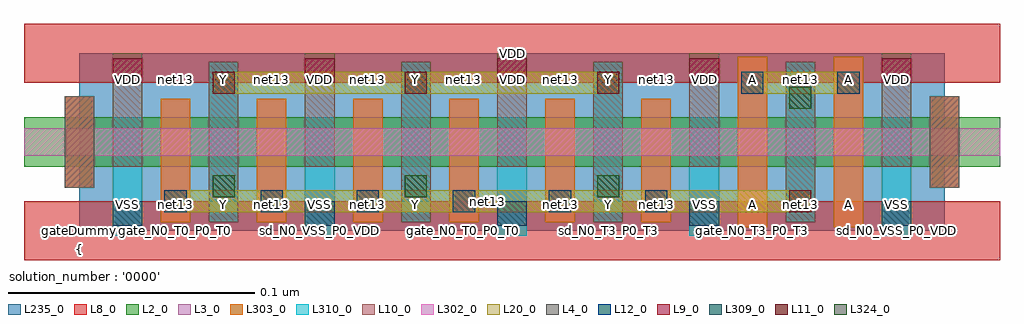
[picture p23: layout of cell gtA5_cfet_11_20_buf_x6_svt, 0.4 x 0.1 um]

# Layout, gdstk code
import gdstk
lib = gdstk.Library(unit=1e-6, precision=2.5e-10)
def R(c, l, rs):  # rectangles x0, y0, x1, y1
    for r in rs: c.add(gdstk.rectangle(r[:2], r[2:], *l))
def A(c, l, x, y, w, h, nx, ny, dx, dy):  # array of equal rectangles
    R(c, l, [(x+i*dx, y+j*dy, x+i*dx+w, y+j*dy+h) for i in range(nx) for j in range(ny)])
L2_0 = (2, 0)
L3_0 = (3, 0)
L4_0 = (4, 0)
L8_0 = (8, 0)
L9_0 = (9, 0)
L10_0 = (10, 0)
L11_0 = (11, 0)
L12_0 = (12, 0)
L20_0 = (20, 0)
L235_0 = (235, 0)
L302_0 = (302, 0)
L303_0 = (303, 0)
L309_0 = (309, 0)
L310_0 = (310, 0)
L324_0 = (324, 0)

gta5_cfet_11_20_buf_x6_s = lib.new_cell('gtA5_cfet_11_20_buf_x6_svt')
R(gta5_cfet_11_20_buf_x6_s, L2_0, [(-0.0225,0.026,0.3735,0.046)])
A(gta5_cfet_11_20_buf_x6_s, L3_0, 0.033, 0.0035, 0.012, 0.05, 6, 1, 0.039, 0)
R(gta5_cfet_11_20_buf_x6_s, L3_0, [(0.267,0.0015,0.279,0.0705), (0.306,0.0015,0.318,0.0705), (-0.006,0.0175,0.006,0.0545), (0.345,0.0175,0.357,0.0545)])
R(gta5_cfet_11_20_buf_x6_s, L4_0, [(-0.006,0.0175,0.006,0.0545), (0.345,0.0175,0.357,0.0545)])
R(gta5_cfet_11_20_buf_x6_s, L8_0, [(-0.0225,-0.012,0.3735,0.012), (-0.0225,0.06,0.3735,0.084)])
A(gta5_cfet_11_20_buf_x6_s, L9_0, 0.0135, 0.06, 0.012, 0.01, 5, 1, 0.078, 0)
A(gta5_cfet_11_20_buf_x6_s, L10_0, 0.0525, 0.0035, 0.012, 0.065, 4, 1, 0.078, 0)
A(gta5_cfet_11_20_buf_x6_s, L10_0, 0.0135, 0.026, 0.012, 0.046, 5, 1, 0.078, 0)
A(gta5_cfet_11_20_buf_x6_s, L11_0, 0.054, 0.0555, 0.009, 0.009, 3, 1, 0.078, 0)
R(gta5_cfet_11_20_buf_x6_s, L11_0, [(0.288,0.0075,0.297,0.0165)])
A(gta5_cfet_11_20_buf_x6_s, L12_0, 0.0345, 0.0075, 0.009, 0.009, 6, 1, 0.039, 0)
R(gta5_cfet_11_20_buf_x6_s, L12_0, [(0.2685,0.0555,0.2775,0.0645), (0.3075,0.0555,0.3165,0.0645)])
R(gta5_cfet_11_20_buf_x6_s, L20_0, [(0.0345,0.0075,0.297,0.0165), (0.054,0.0555,0.219,0.0645), (0.2685,0.0555,0.3165,0.0645)])
R(gta5_cfet_11_20_buf_x6_s, L235_0, [(0,0,0.351,0.072)])
R(gta5_cfet_11_20_buf_x6_s, L302_0, [(-0.0225,0.0305,0.3735,0.0415)])
A(gta5_cfet_11_20_buf_x6_s, L303_0, 0.033, 0.0035, 0.012, 0.05, 6, 1, 0.039, 0)
R(gta5_cfet_11_20_buf_x6_s, L303_0, [(0.267,0.0015,0.279,0.0705), (0.306,0.0015,0.318,0.0705), (-0.006,0.0175,0.006,0.0545), (0.345,0.0175,0.357,0.0545)])
A(gta5_cfet_11_20_buf_x6_s, L309_0, 0.0135, 0.002, 0.012, 0.01, 5, 1, 0.078, 0)
A(gta5_cfet_11_20_buf_x6_s, L310_0, 0.0135, -0.002, 0.012, 0.048, 5, 1, 0.078, 0)
A(gta5_cfet_11_20_buf_x6_s, L310_0, 0.0525, 0.0035, 0.012, 0.065, 4, 1, 0.078, 0)
A(gta5_cfet_11_20_buf_x6_s, L324_0, 0.054, 0.0135, 0.009, 0.009, 3, 1, 0.078, 0)
R(gta5_cfet_11_20_buf_x6_s, L324_0, [(0.288,0.0495,0.297,0.0585)])
gta5_cfet_11_20_buf_x6_s.add(gdstk.Label('net13', (0.1658,0.012), layer=100, texttype=100))
gta5_cfet_11_20_buf_x6_s.add(gdstk.Label('gateDummy', (0,0), layer=103, texttype=103))
gta5_cfet_11_20_buf_x6_s.add(gdstk.Label('sd_N0_VSS_P0_VDD', (0.0195,0), layer=103, texttype=103))
gta5_cfet_11_20_buf_x6_s.add(gdstk.Label('gate_N0_T0_P0_T0', (0.039,0), layer=103, texttype=103))
gta5_cfet_11_20_buf_x6_s.add(gdstk.Label('sd_N0_T3_P0_T3', (0.0585,0), layer=103, texttype=103))
gta5_cfet_11_20_buf_x6_s.add(gdstk.Label('gate_N0_T0_P0_T0', (0.078,0), layer=103, texttype=103))
gta5_cfet_11_20_buf_x6_s.add(gdstk.Label('sd_N0_VSS_P0_VDD', (0.0975,0), layer=103, texttype=103))
gta5_cfet_11_20_buf_x6_s.add(gdstk.Label('gate_N0_T0_P0_T0', (0.117,0), layer=103, texttype=103))
gta5_cfet_11_20_buf_x6_s.add(gdstk.Label('sd_N0_T3_P0_T3', (0.1365,0), layer=103, texttype=103))
gta5_cfet_11_20_buf_x6_s.add(gdstk.Label('gate_N0_T0_P0_T0', (0.156,0), layer=103, texttype=103))
gta5_cfet_11_20_buf_x6_s.add(gdstk.Label('sd_N0_VSS_P0_VDD', (0.1755,0), layer=103, texttype=103))
gta5_cfet_11_20_buf_x6_s.add(gdstk.Label('gate_N0_T0_P0_T0', (0.195,0), layer=103, texttype=103))
gta5_cfet_11_20_buf_x6_s.add(gdstk.Label('sd_N0_T3_P0_T3', (0.2145,0), layer=103, texttype=103))
gta5_cfet_11_20_buf_x6_s.add(gdstk.Label('gate_N0_T0_P0_T0', (0.234,0), layer=103, texttype=103))
gta5_cfet_11_20_buf_x6_s.add(gdstk.Label('sd_N0_VSS_P0_VDD', (0.2535,0), layer=103, texttype=103))
gta5_cfet_11_20_buf_x6_s.add(gdstk.Label('gate_N0_T3_P0_T3', (0.273,0), layer=103, texttype=103))
gta5_cfet_11_20_buf_x6_s.add(gdstk.Label('sd_N0_T0_P0_T0', (0.2925,0), layer=103, texttype=103))
gta5_cfet_11_20_buf_x6_s.add(gdstk.Label('gate_N0_T3_P0_T3', (0.312,0), layer=103, texttype=103))
gta5_cfet_11_20_buf_x6_s.add(gdstk.Label('sd_N0_VSS_P0_VDD', (0.3315,0), layer=103, texttype=103))
gta5_cfet_11_20_buf_x6_s.add(gdstk.Label('gateDummy', (0.351,0), layer=103, texttype=103))
gta5_cfet_11_20_buf_x6_s.add(gdstk.Label('}', (0,-0.0785), layer=104, texttype=104))
gta5_cfet_11_20_buf_x6_s.add(gdstk.Label('  power : None', (0,-0.0713), layer=104, texttype=104))
gta5_cfet_11_20_buf_x6_s.add(gdstk.Label('  performance : None', (0,-0.0643), layer=104, texttype=104))
gta5_cfet_11_20_buf_x6_s.add(gdstk.Label("  solution_hash : '15863758050894944985'", (0,-0.057), layer=104, texttype=104))
gta5_cfet_11_20_buf_x6_s.add(gdstk.Label('  number_m2 : 0', (0,-0.05), layer=104, texttype=104))
gta5_cfet_11_20_buf_x6_s.add(gdstk.Label('  number_m1 : 0', (0,-0.0428), layer=104, texttype=104))
gta5_cfet_11_20_buf_x6_s.add(gdstk.Label('  number_m0cuts : 0', (0,-0.0358), layer=104, texttype=104))
gta5_cfet_11_20_buf_x6_s.add(gdstk.Label('  number_m0 : 3', (0,-0.0285), layer=104, texttype=104))
gta5_cfet_11_20_buf_x6_s.add(gdstk.Label("  solution_number : '0000'", (0,-0.0215), layer=104, texttype=104))
gta5_cfet_11_20_buf_x6_s.add(gdstk.Label("  placement_id : '4436051885917977567'", (0,-0.0143), layer=104, texttype=104))
gta5_cfet_11_20_buf_x6_s.add(gdstk.Label('{', (0,-0.0073), layer=104, texttype=104))
gta5_cfet_11_20_buf_x6_s.add(gdstk.Label('VSS', (0.0195,0.0108), layer=105, texttype=105))
gta5_cfet_11_20_buf_x6_s.add(gdstk.Label('net13', (0.039,0.0108), layer=105, texttype=105))
gta5_cfet_11_20_buf_x6_s.add(gdstk.Label('Y', (0.0585,0.0108), layer=105, texttype=105))
gta5_cfet_11_20_buf_x6_s.add(gdstk.Label('net13', (0.078,0.0108), layer=105, texttype=105))
gta5_cfet_11_20_buf_x6_s.add(gdstk.Label('VSS', (0.0975,0.0108), layer=105, texttype=105))
gta5_cfet_11_20_buf_x6_s.add(gdstk.Label('net13', (0.117,0.0108), layer=105, texttype=105))
gta5_cfet_11_20_buf_x6_s.add(gdstk.Label('Y', (0.1365,0.0108), layer=105, texttype=105))
gta5_cfet_11_20_buf_x6_s.add(gdstk.Label('net13', (0.156,0.0108), layer=105, texttype=105))
gta5_cfet_11_20_buf_x6_s.add(gdstk.Label('VSS', (0.1755,0.0108), layer=105, texttype=105))
gta5_cfet_11_20_buf_x6_s.add(gdstk.Label('net13', (0.195,0.0108), layer=105, texttype=105))
gta5_cfet_11_20_buf_x6_s.add(gdstk.Label('Y', (0.2145,0.0108), layer=105, texttype=105))
gta5_cfet_11_20_buf_x6_s.add(gdstk.Label('net13', (0.234,0.0108), layer=105, texttype=105))
gta5_cfet_11_20_buf_x6_s.add(gdstk.Label('VSS', (0.2535,0.0108), layer=105, texttype=105))
gta5_cfet_11_20_buf_x6_s.add(gdstk.Label('A', (0.273,0.0108), layer=105, texttype=105))
gta5_cfet_11_20_buf_x6_s.add(gdstk.Label('net13', (0.2925,0.0108), layer=105, texttype=105))
gta5_cfet_11_20_buf_x6_s.add(gdstk.Label('A', (0.312,0.0108), layer=105, texttype=105))
gta5_cfet_11_20_buf_x6_s.add(gdstk.Label('VSS', (0.3315,0.0108), layer=105, texttype=105))
gta5_cfet_11_20_buf_x6_s.add(gdstk.Label('VDD', (0.0195,0.0612), layer=105, texttype=105))
gta5_cfet_11_20_buf_x6_s.add(gdstk.Label('net13', (0.039,0.0612), layer=105, texttype=105))
gta5_cfet_11_20_buf_x6_s.add(gdstk.Label('Y', (0.0585,0.0612), layer=105, texttype=105))
gta5_cfet_11_20_buf_x6_s.add(gdstk.Label('net13', (0.078,0.0612), layer=105, texttype=105))
gta5_cfet_11_20_buf_x6_s.add(gdstk.Label('VDD', (0.0975,0.0612), layer=105, texttype=105))
gta5_cfet_11_20_buf_x6_s.add(gdstk.Label('net13', (0.117,0.0612), layer=105, texttype=105))
gta5_cfet_11_20_buf_x6_s.add(gdstk.Label('Y', (0.1365,0.0612), layer=105, texttype=105))
gta5_cfet_11_20_buf_x6_s.add(gdstk.Label('net13', (0.156,0.0612), layer=105, texttype=105))
gta5_cfet_11_20_buf_x6_s.add(gdstk.Label('VDD', (0.1755,0.0612), layer=105, texttype=105))
gta5_cfet_11_20_buf_x6_s.add(gdstk.Label('net13', (0.195,0.0612), layer=105, texttype=105))
gta5_cfet_11_20_buf_x6_s.add(gdstk.Label('Y', (0.2145,0.0612), layer=105, texttype=105))
gta5_cfet_11_20_buf_x6_s.add(gdstk.Label('net13', (0.234,0.0612), layer=105, texttype=105))
gta5_cfet_11_20_buf_x6_s.add(gdstk.Label('VDD', (0.2535,0.0612), layer=105, texttype=105))
gta5_cfet_11_20_buf_x6_s.add(gdstk.Label('A', (0.273,0.0612), layer=105, texttype=105))
gta5_cfet_11_20_buf_x6_s.add(gdstk.Label('net13', (0.2925,0.0612), layer=105, texttype=105))
gta5_cfet_11_20_buf_x6_s.add(gdstk.Label('A', (0.312,0.0612), layer=105, texttype=105))
gta5_cfet_11_20_buf_x6_s.add(gdstk.Label('VDD', (0.3315,0.0612), layer=105, texttype=105))
gta5_cfet_11_20_buf_x6_s.add(gdstk.Label('VSS', (0.1755,0), layer=8, texttype=0))
gta5_cfet_11_20_buf_x6_s.add(gdstk.Label('VDD', (0.1755,0.072), layer=8, texttype=0))
gta5_cfet_11_20_buf_x6_s.add(gdstk.Label('Y', (0.1365,0.06), layer=20, texttype=251))
gta5_cfet_11_20_buf_x6_s.add(gdstk.Label('A', (0.2925,0.06), layer=20, texttype=251))
gta5_cfet_11_20_buf_x6_s.add(gdstk.Label('gtA5_cfet_11_20_buf_x6_rvt_0', (0,0), layer=235, texttype=0))

lib.write_gds('gtA5_cfet_11_20_buf_x6_svt.gds')
